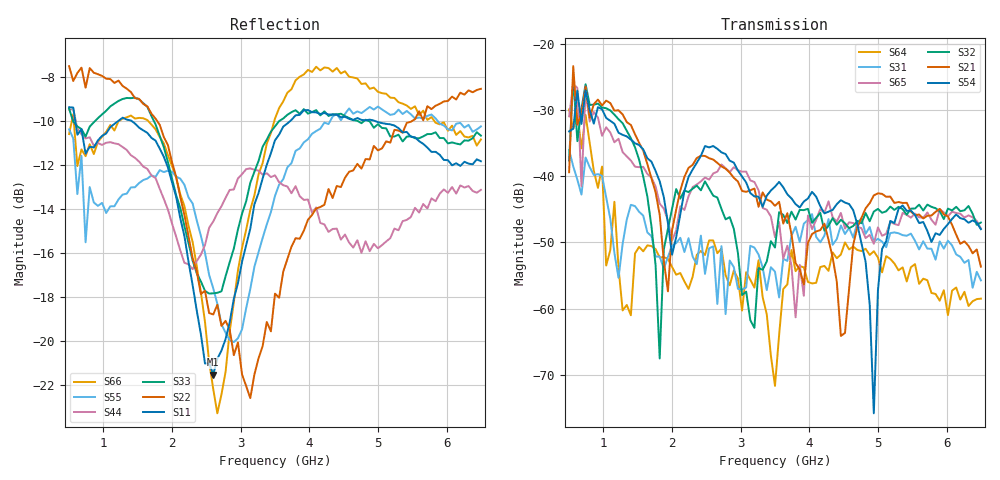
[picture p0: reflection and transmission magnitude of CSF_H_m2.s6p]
!Keysight Technologies,M9804A,MY58100912,A.14.10.03
!Date: Thursday, April 27, 2023 10:28:33
!Correction: S11(C  6-Port  )
!S12(C  6-Port  )
!S13(C  6-Port  )
!S14(C  6-Port  )
!S15(C  6-Port  )
!S16(C  6-Port  )
!S21(C  6-Port  )
!S22(C  6-Port  )
!S23(C  6-Port  )
!S24(C  6-Port  )
!S25(C  6-Port  )
!S26(C  6-Port  )
!S31(C  6-Port  )
!S32(C  6-Port  )
!S33(C  6-Port  )
!S34(C  6-Port  )
!S35(C  6-Port  )
!S36(C  6-Port  )
!S41(C  6-Port  )
!S42(C  6-Port  )
!S43(C  6-Port  )
!S44(C  6-Port  )
!S45(C  6-Port  )
!S46(C  6-Port  )
!S51(C  6-Port  )
!S52(C  6-Port  )
!S53(C  6-Port  )
!S54(C  6-Port  )
!S55(C  6-Port  )
!S56(C  6-Port  )
!S61(C  6-Port  )
!S62(C  6-Port  )
!S63(C  6-Port  )
!S64(C  6-Port  )
!S65(C  6-Port  )
!S66(C  6-Port  )
!S6P File: Measurement: :
# Hz S  RI  R 50
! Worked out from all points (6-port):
!   101 points, 500 MHz to 6.5 GHz, reference 50 ohm
!   strongest paths, dB at 500 MHz, 2 GHz, 3.5 GHz, 5 GHz, 6.5 GHz:
!     S54: -33.2, -51.9, -41.6, -57.2, -48.0
!     S21: -39.4, -48.1, -44.5, -42.6, -53.7
!     S32: -37.6, -44.9, -50.8, -44.9, -47.0
!     S65: -30.9, -49.7, -49.2, -47.7, -47.9
!     S31: -36.0, -50.5, -54.4, -49.4, -55.7
!     S64: -29.9, -53.7, -71.7, -52.3, -58.5
!   lowest |S11| = -21.5 dB at 2.6 GHz (marker M1), VSWR 1.18, Z = 42.5 + j2.09 ohm
!   |S11| at or under -10 dB: 590.7 MHz to 1.207 GHz (615.9 MHz wide, 68.5 % of centre); 1.42 GHz to 3.714 GHz (2.293 GHz wide, 89.3 % of centre); 4.975 GHz to end of sweep
